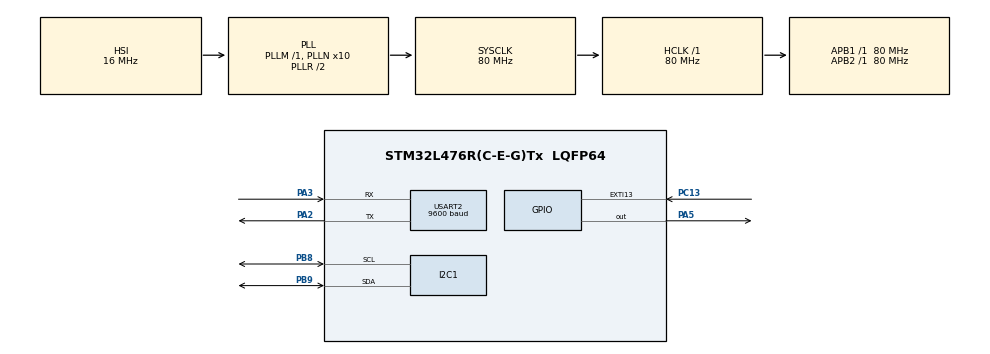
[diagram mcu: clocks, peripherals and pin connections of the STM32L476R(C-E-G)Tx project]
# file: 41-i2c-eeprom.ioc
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I2C1.I2C_Fall_Time=0
I2C1.I2C_Rise_Time=0
I2C1.Timing=0x10909CEC
Mcu.Family=STM32L4
Mcu.Name=STM32L476R(C-E-G)Tx
Mcu.Package=LQFP64
NVIC.EXTI15_10_IRQn=true\:0\:0\:false\:false\:true\:true\:true\:true
NVIC.PriorityGroup=NVIC_PRIORITYGROUP_4
PA2.Mode=Asynchronous
PA2.Signal=USART2_TX
PA3.Mode=Asynchronous
PA3.Signal=USART2_RX
PA5.Signal=GPIO_Output
PB8.Mode=I2C
PB8.Signal=I2C1_SCL
PB9.Mode=I2C
PB9.Signal=I2C1_SDA
PC13.GPIO_ModeDefaultEXTI=GPIO_MODE_IT_FALLING
PC13.Signal=GPXTI13
ProjectManager.HeapSize=0x200
ProjectManager.StackSize=0x400
ProjectManager.TargetToolchain=STM32CubeIDE
RCC.ADCFreq_Value=64000000
RCC.AHBFreq_Value=80000000
RCC.APB1Freq_Value=80000000
RCC.APB1TimFreq_Value=80000000
RCC.APB2Freq_Value=80000000
RCC.APB2TimFreq_Value=80000000
RCC.CortexFreq_Value=80000000
RCC.HCLKFreq_Value=80000000
RCC.HSE_VALUE=8000000
RCC.HSI_VALUE=16000000
RCC.LSE_VALUE=32768
RCC.MSI_VALUE=4000000
RCC.PLLN=10
RCC.PLLSourceVirtual=RCC_PLLSOURCE_HSI
RCC.PREFETCH_ENABLE=1
RCC.SYSCLKFreq_VALUE=80000000
RCC.SYSCLKSource=RCC_SYSCLKSOURCE_PLLCLK
RCC.USBFreq_Value=64000000
RCC.VCOOutputFreq_Value=160000000
USART2.BaudRate=9600
USART2.VirtualMode-Asynchronous=VM_ASYNC
board=NUCLEO-L476RG

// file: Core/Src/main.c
/* USER CODE BEGIN Header */
/**
  ******************************************************************************
  * @file           : main.c
  * @brief          : Main program body
  ******************************************************************************
  * @attention
  *
  * Copyright (c) 2025 STMicroelectronics.
  * All rights reserved.
  *
  * This software is licensed under terms that can be found in the LICENSE file
  * in the root directory of this software component.
  * If no LICENSE file comes with this software, it is provided AS-IS.
  *
  ******************************************************************************
  */
/* USER CODE END Header */
#include "main.h"

/* USER CODE BEGIN Includes */

#include "stdlib.h"    //for srand()
#include "stdio.h"    //for sprintf()
#include "string.h"    //for strlen()

/* USER CODE END Includes */

I2C_HandleTypeDef hi2c1;

UART_HandleTypeDef huart2;

void SystemClock_Config(void);
static void MX_GPIO_Init(void);
static void MX_I2C1_Init(void);
static void MX_USART2_UART_Init(void);

/* USER CODE BEGIN 0 */

uint8_t rand_value = 0;    //random number 1 to 9
char text_buffer[50] = "";    //text buffer
uint8_t data_flag = 0;    //flag

//control code is "1010"
//A0 = 0, A1 = 0, A2 = 0
//Read/Write bit, Write = 0
//combine control code, A2, A1, A0 and RW bit, the I2C address is 0xA0
char I2C_ADDRESS = 0xA0;    //I2C address 0xA0

void HAL_GPIO_EXTI_Callback(uint16_t GPIO_Pin)
{
  //click the onboard button
  if(GPIO_Pin == GPIO_PIN_13) {
    uint32_t seed = HAL_GetTick();   //tick seed
    srand(seed);    //random seed
    rand_value = rand() % 9 + 1;   //random number 0 ~ 9

    sprintf(text_buffer, "Generate a number: %i\n\r", rand_value);    //write text to buffer
    HAL_UART_Transmit(&huart2, (uint8_t*)text_buffer, strlen(text_buffer), HAL_MAX_DELAY);    //transmit UART
    data_flag = 1;    //set data flag
  }
}

//read EEPROM
void READ_EEPROM(uint16_t MemAddress, uint8_t *pData, uint16_t length) {
  uint8_t address[2];
  address[0] = (uint8_t)((MemAddress & 0xFF00) >> 8);    //move data to right
  address[1] = (uint8_t)(MemAddress & 0x00FF);    //retrieve the right data
  HAL_I2C_Master_Transmit(&hi2c1, I2C_ADDRESS, address, 2, HAL_MAX_DELAY);    //transmit read command
  //RW bit, plus 1 for Read mode
  //I2C_ADDRESS should be 0xA1
  HAL_I2C_Master_Receive(&hi2c1, (I2C_ADDRESS + 0x01), pData, length, HAL_MAX_DELAY);    //received data and storage data
}

//write EEPROM
void WRITE_EEPROM(uint16_t MemAddress, uint8_t *pData, uint16_t length) {
  uint8_t data[64];    //define the enough space for write address and write data
  data[0] = (uint8_t)((MemAddress & 0xFF00) >> 8);    //move data to right
  data[1] = (uint8_t)(MemAddress & 0x00FF);    //retrieve the right data
  memcpy(&data[2], pData, length);    //set the data to the new address
  HAL_I2C_Master_Transmit(&hi2c1, I2C_ADDRESS, data, length + 2, HAL_MAX_DELAY);    //transmit write command, the length should contain the address

  while(HAL_I2C_Master_Transmit(&hi2c1, I2C_ADDRESS, NULL, 0, HAL_MAX_DELAY) != HAL_OK);    //wait for transmit process
}

/* USER CODE END 0 */

int main(void)
{

  /* MCU Configuration--------------------------------------------------------*/

  /* Reset of all peripherals, Initializes the Flash interface and the Systick. */
  HAL_Init();

  /* Configure the system clock */
  SystemClock_Config();

  /* Initialize all configured peripherals */
  MX_GPIO_Init();
  MX_I2C1_Init();
  MX_USART2_UART_Init();
  /* USER CODE BEGIN 2 */

  HAL_I2C_Init(&hi2c1);    //I2C initialize
  HAL_GPIO_WritePin(GPIOA, GPIO_PIN_5, GPIO_PIN_RESET);    //reset pin

  /* USER CODE END 2 */

  /* Infinite loop */
  /* USER CODE BEGIN WHILE */
  while (1)
  {
    if(data_flag == 1) {
      data_flag = 0;  //reset flag

      sprintf(text_buffer, "Write number to EEPROM\n\r");    //write text to buffer
      HAL_UART_Transmit(&huart2, (uint8_t*)text_buffer, strlen(text_buffer), HAL_MAX_DELAY);    //transmit UART

      //write data
      char write_data[4];
      sprintf(write_data, "%i", rand_value);
      WRITE_EEPROM(0x0100, (uint8_t *)write_data, strlen(write_data));
      HAL_Delay(10);    //wait for writing process

      //read data
      char read_data[4] = {0};
      READ_EEPROM(0x0100, (uint8_t *)read_data, 4);
      //convert to integer
      //ASCII '0' for decimal number 48
      //When read_data[0] is '1' for decimal number 49, the result of (read_data[0] - '0') will be 49 - 48 = 1
      int read_num = (read_data[0] - '0');

      sprintf(text_buffer, "Read number from EEPROM: %i\n\r", read_num);    //write text to buffer
      HAL_UART_Transmit(&huart2, (uint8_t*)text_buffer, strlen(text_buffer), HAL_MAX_DELAY);    //transmit UART

      HAL_Delay(2500);    //delay

      //flash onboard LED for counter number
	  for(int i = 0; i < read_num; i++) {
	    HAL_GPIO_TogglePin(GPIOA, GPIO_PIN_5);
	    HAL_Delay(300);
	    HAL_GPIO_TogglePin(GPIOA, GPIO_PIN_5);
	    HAL_Delay(300);
	  }
    }
    HAL_Delay(1);
    /* USER CODE END WHILE */

  }
}

void SystemClock_Config(void)
{
  RCC_OscInitTypeDef RCC_OscInitStruct = {0};
  RCC_ClkInitTypeDef RCC_ClkInitStruct = {0};

  /** Configure the main internal regulator output voltage
  */
  if (HAL_PWREx_ControlVoltageScaling(PWR_REGULATOR_VOLTAGE_SCALE1) != HAL_OK)
  {
    Error_Handler();
  }

  /** Initializes the RCC Oscillators according to the specified parameters
  * in the RCC_OscInitTypeDef structure.
  */
  RCC_OscInitStruct.OscillatorType = RCC_OSCILLATORTYPE_HSI;
  RCC_OscInitStruct.HSIState = RCC_HSI_ON;
  RCC_OscInitStruct.HSICalibrationValue = RCC_HSICALIBRATION_DEFAULT;
  RCC_OscInitStruct.PLL.PLLState = RCC_PLL_ON;
  RCC_OscInitStruct.PLL.PLLSource = RCC_PLLSOURCE_HSI;
  RCC_OscInitStruct.PLL.PLLM = 1;
  RCC_OscInitStruct.PLL.PLLN = 10;
  RCC_OscInitStruct.PLL.PLLP = RCC_PLLP_DIV7;
  RCC_OscInitStruct.PLL.PLLQ = RCC_PLLQ_DIV2;
  RCC_OscInitStruct.PLL.PLLR = RCC_PLLR_DIV2;
  if (HAL_RCC_OscConfig(&RCC_OscInitStruct) != HAL_OK)
  {
    Error_Handler();
  }

  /** Initializes the CPU, AHB and APB buses clocks
  */
  RCC_ClkInitStruct.ClockType = RCC_CLOCKTYPE_HCLK|RCC_CLOCKTYPE_SYSCLK
                              |RCC_CLOCKTYPE_PCLK1|RCC_CLOCKTYPE_PCLK2;
  RCC_ClkInitStruct.SYSCLKSource = RCC_SYSCLKSOURCE_PLLCLK;
  RCC_ClkInitStruct.AHBCLKDivider = RCC_SYSCLK_DIV1;
  RCC_ClkInitStruct.APB1CLKDivider = RCC_HCLK_DIV1;
  RCC_ClkInitStruct.APB2CLKDivider = RCC_HCLK_DIV1;

  if (HAL_RCC_ClockConfig(&RCC_ClkInitStruct, FLASH_LATENCY_4) != HAL_OK)
  {
    Error_Handler();
  }
}

static void MX_I2C1_Init(void)
{

  hi2c1.Instance = I2C1;
  hi2c1.Init.Timing = 0x10909CEC;
  hi2c1.Init.OwnAddress1 = 0;
  hi2c1.Init.AddressingMode = I2C_ADDRESSINGMODE_7BIT;
  hi2c1.Init.DualAddressMode = I2C_DUALADDRESS_DISABLE;
  hi2c1.Init.OwnAddress2 = 0;
  hi2c1.Init.OwnAddress2Masks = I2C_OA2_NOMASK;
  hi2c1.Init.GeneralCallMode = I2C_GENERALCALL_DISABLE;
  hi2c1.Init.NoStretchMode = I2C_NOSTRETCH_DISABLE;
  if (HAL_I2C_Init(&hi2c1) != HAL_OK)
  {
    Error_Handler();
  }

  /** Configure Analogue filter
  */
  if (HAL_I2CEx_ConfigAnalogFilter(&hi2c1, I2C_ANALOGFILTER_ENABLE) != HAL_OK)
  {
    Error_Handler();
  }

  /** Configure Digital filter
  */
  if (HAL_I2CEx_ConfigDigitalFilter(&hi2c1, 0) != HAL_OK)
  {
    Error_Handler();
  }

}

static void MX_USART2_UART_Init(void)
{

  huart2.Instance = USART2;
  huart2.Init.BaudRate = 9600;
  huart2.Init.WordLength = UART_WORDLENGTH_8B;
  huart2.Init.StopBits = UART_STOPBITS_1;
  huart2.Init.Parity = UART_PARITY_NONE;
  huart2.Init.Mode = UART_MODE_TX_RX;
  huart2.Init.HwFlowCtl = UART_HWCONTROL_NONE;
  huart2.Init.OverSampling = UART_OVERSAMPLING_16;
  huart2.Init.OneBitSampling = UART_ONE_BIT_SAMPLE_DISABLE;
  huart2.AdvancedInit.AdvFeatureInit = UART_ADVFEATURE_NO_INIT;
  if (HAL_UART_Init(&huart2) != HAL_OK)
  {
    Error_Handler();
  }

}

static void MX_GPIO_Init(void)
{
  GPIO_InitTypeDef GPIO_InitStruct = {0};

  /* GPIO Ports Clock Enable */
  __HAL_RCC_GPIOC_CLK_ENABLE();
  __HAL_RCC_GPIOA_CLK_ENABLE();
  __HAL_RCC_GPIOB_CLK_ENABLE();

  /*Configure GPIO pin Output Level */
  HAL_GPIO_WritePin(GPIOA, GPIO_PIN_5, GPIO_PIN_RESET);

  /*Configure GPIO pin : PC13 */
  GPIO_InitStruct.Pin = GPIO_PIN_13;
  GPIO_InitStruct.Mode = GPIO_MODE_IT_FALLING;
  GPIO_InitStruct.Pull = GPIO_NOPULL;
  HAL_GPIO_Init(GPIOC, &GPIO_InitStruct);

  /*Configure GPIO pin : PA5 */
  GPIO_InitStruct.Pin = GPIO_PIN_5;
  GPIO_InitStruct.Mode = GPIO_MODE_OUTPUT_PP;
  GPIO_InitStruct.Pull = GPIO_NOPULL;
  GPIO_InitStruct.Speed = GPIO_SPEED_FREQ_LOW;
  HAL_GPIO_Init(GPIOA, &GPIO_InitStruct);

  /* EXTI interrupt init*/
  HAL_NVIC_SetPriority(EXTI15_10_IRQn, 0, 0);
  HAL_NVIC_EnableIRQ(EXTI15_10_IRQn);

}

void Error_Handler(void)
{
  __disable_irq();
  while (1)
  {
  }
}
